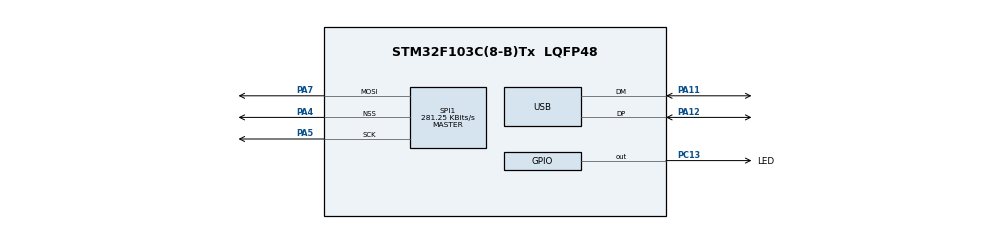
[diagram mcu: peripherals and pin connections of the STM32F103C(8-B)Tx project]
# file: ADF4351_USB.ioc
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Mcu.Family=STM32F1
Mcu.Name=STM32F103C(8-B)Tx
Mcu.Package=LQFP48
NVIC.PriorityGroup=NVIC_PRIORITYGROUP_4
NVIC.USB_LP_CAN1_RX0_IRQn=true\:0\:0\:false\:false\:true\:false\:true\:true
PA11.Mode=Device
PA11.Signal=USB_DM
PA12.Mode=Device
PA12.Signal=USB_DP
PA13.Mode=Serial_Wire
PA13.Signal=SYS_JTMS-SWDIO
PA14.Mode=Serial_Wire
PA14.Signal=SYS_JTCK-SWCLK
PA4.Mode=NSS_Signal_Hard_Output
PA4.Signal=SPI1_NSS
PA5.Mode=TX_Only_Simplex_Unidirect_Master
PA5.Signal=SPI1_SCK
PA7.Mode=TX_Only_Simplex_Unidirect_Master
PA7.Signal=SPI1_MOSI
PC13-TAMPER-RTC.GPIO_Label=LED
PC13-TAMPER-RTC.Signal=GPIO_Output
PC14-OSC32_IN.Mode=LSE-External-Oscillator
PC14-OSC32_IN.Signal=RCC_OSC32_IN
PC15-OSC32_OUT.Mode=LSE-External-Oscillator
PC15-OSC32_OUT.Signal=RCC_OSC32_OUT
PD0-OSC_IN.Mode=HSE-External-Oscillator
PD0-OSC_IN.Signal=RCC_OSC_IN
PD1-OSC_OUT.Mode=HSE-External-Oscillator
PD1-OSC_OUT.Signal=RCC_OSC_OUT
ProjectManager.HeapSize=0x200
ProjectManager.StackSize=0x400
ProjectManager.TargetToolchain=TrueSTUDIO
RCC.AHBFreq_Value=72000000
RCC.APB1CLKDivider=RCC_HCLK_DIV2
RCC.APB1Freq_Value=36000000
RCC.APB1TimFreq_Value=72000000
RCC.APB2Freq_Value=72000000
RCC.APB2TimFreq_Value=72000000
RCC.HCLKFreq_Value=72000000
RCC.PLLMUL=RCC_PLL_MUL9
RCC.PLLSourceVirtual=RCC_PLLSOURCE_HSE
RCC.SYSCLKFreq_VALUE=72000000
RCC.SYSCLKSource=RCC_SYSCLKSOURCE_PLLCLK
RCC.USBFreq_Value=48000000
RCC.USBPrescaler=RCC_USBCLKSOURCE_PLL_DIV1_5
SPI1.BaudRatePrescaler=SPI_BAUDRATEPRESCALER_256
SPI1.CLKPhase=SPI_PHASE_1EDGE
SPI1.CLKPolarity=SPI_POLARITY_LOW
SPI1.CalculateBaudRate=281.25 KBits/s
SPI1.DataSize=SPI_DATASIZE_16BIT
SPI1.Direction=SPI_DIRECTION_2LINES
SPI1.Mode=SPI_MODE_MASTER
SPI1.VirtualNSS=VM_NSSHARD
SPI1.VirtualType=VM_MASTER
USB_DEVICE.CLASS_NAME_FS=CDC
USB_DEVICE.VirtualMode=Cdc
USB_DEVICE.VirtualModeFS=Cdc_FS
VP_USB_DEVICE_VS_USB_DEVICE_CDC_FS.Mode=CDC_FS
board=custom

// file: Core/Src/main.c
/* USER CODE BEGIN Header */
/**
  ******************************************************************************
  * @file           : main.c
  * @brief          : Main program body
  ******************************************************************************
  * @attention
  *
  * Copyright (c) 2022 STMicroelectronics.
  * All rights reserved.
  *
  * This software is licensed under terms that can be found in the LICENSE file
  * in the root directory of this software component.
  * If no LICENSE file comes with this software, it is provided AS-IS.
  *
  ******************************************************************************
  */
/* USER CODE END Header */
#include "main.h"
#include "spi.h"
#include "usb_device.h"
#include "gpio.h"

/* USER CODE BEGIN Includes */
#include "usbd_cdc_if.h"
#include "math.h"
/* USER CODE END Includes */

/* USER CODE BEGIN PV */
char str_tx[21];
char str_rx[21];
uint32_t input_data = 0;
uint16_t check = 0;
/* USER CODE END PV */

void SystemClock_Config(void);
/* USER CODE BEGIN PFP */
uint8_t CDC_Transmit_FS(uint8_t* Buf, uint16_t Len);
uint16_t ADF4351_Write(uint32_t data);
int8_t hexchar2int(char c);
/* USER CODE END PFP */

int main(void)
{

  /* MCU Configuration--------------------------------------------------------*/

  /* Reset of all peripherals, Initializes the Flash interface and the Systick. */
  HAL_Init();

  /* Configure the system clock */
  SystemClock_Config();

  /* Initialize all configured peripherals */
  MX_GPIO_Init();
  MX_SPI1_Init();
  MX_USB_DEVICE_Init();
  /* USER CODE BEGIN 2 */
  sprintf(str_tx,"USB Transmit\r\n");
  uint32_t ADF4351_REG[6] = {0x00330320, 0x080087D1, 0x60010F42, 0x000004B3, 0x00EC803C, 0x00580005};
//  uint32_t REG0 = 0x500000;
//  uint32_t REG1 = 0x8008011;
//  uint32_t REG2 = 0x10E42;
//  uint32_t REG3 = 0x4B3;
//  uint32_t REG4 = 0xAC803C;
//  uint32_t REG5 = 0x580005;
  LL_mDelay(200);
  for (uint8_t i = 0; i<6; i++)
  {
	  ADF4351_Write(ADF4351_REG[5 - i]);
  }
  /* USER CODE END 2 */

  /* Infinite loop */
  /* USER CODE BEGIN WHILE */
  while (1)
  {
//	  HAL_Delay(500);
//      CDC_Transmit_FS((unsigned char*)str_tx, strlen(str_tx));
//      LL_GPIO_TogglePin(LED_GPIO_Port, LED_Pin);
	  if (RxStrLen > 0)
	  {
		  check = RxStrLen;
		  input_data = 0;
//		  uint16_t i = RxStrLen;
		for (uint8_t i = 0; i<RxStrLen; i++)
		{
//			uint32_t poww = pow(0x10, RxStrLen-i-1);
//			uint8_t buf = hexchar2int(UserRxBufferFS[i]);
//			input_data += buf * poww;
			input_data += hexchar2int(UserRxBufferFS[i]) * pow(0x10, RxStrLen-i-1);
		}
		RxStrLen = 0;
		ADF4351_Write(input_data);
		LL_GPIO_TogglePin(LED_GPIO_Port, LED_Pin);
	  }
    /* USER CODE END WHILE */

  }
}

void SystemClock_Config(void)
{
  LL_FLASH_SetLatency(LL_FLASH_LATENCY_2);
  while(LL_FLASH_GetLatency()!= LL_FLASH_LATENCY_2)
  {
  }
  LL_RCC_HSE_Enable();

   /* Wait till HSE is ready */
  while(LL_RCC_HSE_IsReady() != 1)
  {

  }
  LL_RCC_PLL_ConfigDomain_SYS(LL_RCC_PLLSOURCE_HSE_DIV_1, LL_RCC_PLL_MUL_9);
  LL_RCC_PLL_Enable();

   /* Wait till PLL is ready */
  while(LL_RCC_PLL_IsReady() != 1)
  {

  }
  LL_RCC_SetAHBPrescaler(LL_RCC_SYSCLK_DIV_1);
  LL_RCC_SetAPB1Prescaler(LL_RCC_APB1_DIV_2);
  LL_RCC_SetAPB2Prescaler(LL_RCC_APB2_DIV_1);
  LL_RCC_SetSysClkSource(LL_RCC_SYS_CLKSOURCE_PLL);

   /* Wait till System clock is ready */
  while(LL_RCC_GetSysClkSource() != LL_RCC_SYS_CLKSOURCE_STATUS_PLL)
  {

  }
  LL_SetSystemCoreClock(72000000);

   /* Update the time base */
  if (HAL_InitTick (TICK_INT_PRIORITY) != HAL_OK)
  {
    Error_Handler();
  }
  LL_RCC_SetUSBClockSource(LL_RCC_USB_CLKSOURCE_PLL_DIV_1_5);
}

/* USER CODE BEGIN 4 */

uint16_t ADF4351_Write(uint32_t data)
{
	LL_SPI_Enable(SPI1);
	uint16_t reg[2] = {0};
	for (uint8_t i = 0; i<2; i++)
	{
		reg[i] = (uint16_t)data;
		data = data >> 16;
	}
	for (uint8_t i = 0; i<2; i++)
	{
		while (LL_SPI_IsActiveFlag_TXE(SPI1) != 1);
		LL_SPI_TransmitData16(SPI1, reg[1-i]);
	}
	while (LL_SPI_IsActiveFlag_BSY(SPI1));
	LL_SPI_Disable(SPI1);
	return 1;
}

int8_t hexchar2int(char c)
{
    if (c >= '0' && c <= '9')
        return c - '0';
    if (c >= 'A' && c <= 'F')
        return c - 'A' + 10;
    if (c >= 'a' && c <= 'f')
        return c - 'a' + 10;
    return 0;
}
/* USER CODE END 4 */

void Error_Handler(void)
{
  __disable_irq();
  while (1)
  {
  }
}
